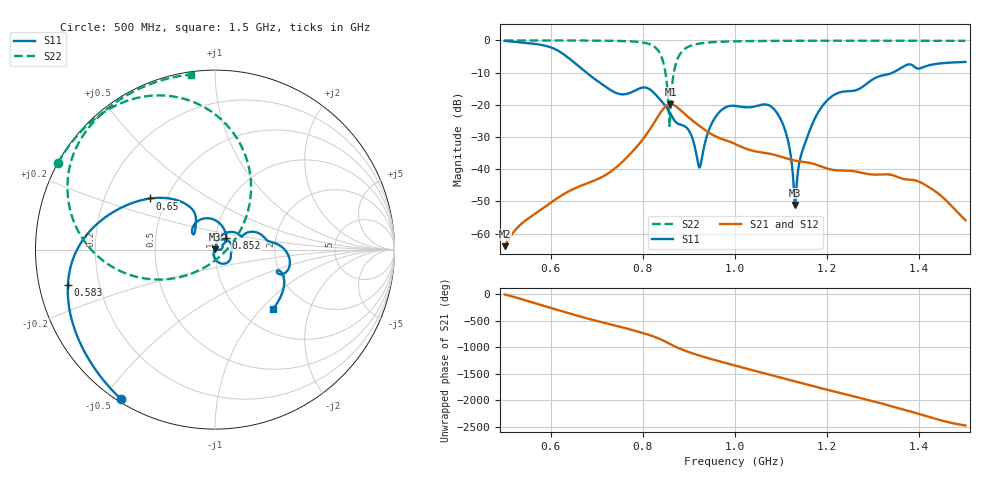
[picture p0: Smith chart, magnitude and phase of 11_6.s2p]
! TOUCHSTONE file generated by CST MICROWAVE STUDIO
! Date and time: Sat Oct 24 11:44:14 2020
! Project name: Scenario_1_Circular_Tissue_out_of_Line.cst
! Parameters = {dy1=-172.59; L_HA=400; MT=2.54; Rad_Dielectric=30; Rad_Lower=7.3; Rad_Upper=30; a_HA=580; a_WG=246; b_HA=500; b_WG=121; c_HA=0; c_WG=187; d_feed=85; dx1=1039; h_feed=15; h_lower=18; h_upper=40}
! Header version: 2018
! Port assignment regex: !\s*Touchstone port\s*([0-9]+)\s*=\s*(CST MWS port|CST DS port)\s*([0-9]+|Zmin|Zmax)\s*\(\"(.*)\"\)(\s*mode\s*([0-9]+))?.*
! Touchstone port assignment:
! Touchstone port 1 = CST MWS port 1 ("")
! Touchstone port 2 = CST MWS port 2 ("")
# GHz S DB R 50
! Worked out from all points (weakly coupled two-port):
!   1001 points, 500 MHz to 1.5 GHz, reference 50 ohm
!   highest |S21| = -19.82 dB at 860 MHz (marker M1); lowest = -63.9 dB at 500 MHz (marker M2)
!   lowest |S11| = -51.1 dB at 1.13 GHz (marker M3), VSWR 1.01, Z = 49.7 + j0.0752 ohm
!   |S11| at or under -10 dB: 677.7 MHz to 1.342 GHz (664.5 MHz wide, 65.8 % of centre)
!   |S22| runs from -26.6 to 0.0 dB; largest |S21 - S12| = 4e-06
!   S11 on the Smith chart (normalised r, x): 500 MHz: 0.01, -0.55; 583 MHz: 0.09, -0.12; 650 MHz: 0.41, +0.29; 852 MHz: 1.12, +0.14; 1.5 GHz: 1.37, -1.17
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0.5  -0.15 -122.3  -63.93 -4.1  -63.93 -4.1  -0.01 151.1
0.583  -1.48 -166.4  -52.19 148.1  -52.19 148.1  -0.02 145.4
0.65  -6.74 141.8  -46.12 -23.4  -46.12 -23.4  -0.03 140.0
0.667  -8.74 129.7  -45.08 -65.1  -45.08 -65.1  -0.04 138.4
0.78  -15.79 142.1  -34.13 40.5  -34.13 40.5  -0.34 120.4
0.834  -17.82 68.5  -23.36 -110.5  -23.36 -110.5  -3.31 83.3
0.852  -21.00 45.6  -20.19 175.1  -20.19 175.1  -13.30 42.3
0.86  -22.83 37.1  -19.82 138.8  -19.82 138.8  -21.08 -110.5
0.878  -25.99 32.7  -21.21 64.1  -21.21 64.1  -4.92 -169.4
0.902  -28.51 6.7  -24.22 -15.1  -24.22 -15.1  -1.75 166.9
0.923  -39.49 37.9  -26.58 -74.9  -26.58 -74.9  -0.97 156.8
0.955  -24.39 61.7  -29.60 -155.7  -29.60 -155.7  -0.50 147.9
1  -20.33 3.6  -32.18 96.3  -32.18 96.3  -0.27 140.3
1.09  -22.28 -72.6  -35.72 -109.8  -35.72 -109.8  -0.13 130.6
1.114  -30.53 -104.5  -36.77 -164.7  -36.77 -164.7  -0.12 128.5
1.13  -51.13 164.2  -37.33 160.1  -37.33 160.1  -0.11 127.2
1.144  -35.35 70.0  -37.65 129.0  -37.65 129.0  -0.10 126.0
1.167  -26.25 74.8  -38.22 75.8  -38.22 75.8  -0.10 124.2
1.212  -17.20 45.4  -40.21 -22.2  -40.21 -22.2  -0.09 120.7
1.334  -10.43 9.0  -41.64 64.4  -41.64 64.4  -0.09 111.5
1.413  -8.08 -19.2  -44.90 -132.2  -44.90 -132.2  -0.10 105.3
1.5  -6.69 -46.0  -55.87 48.7  -55.88 48.7  -0.13 97.9
